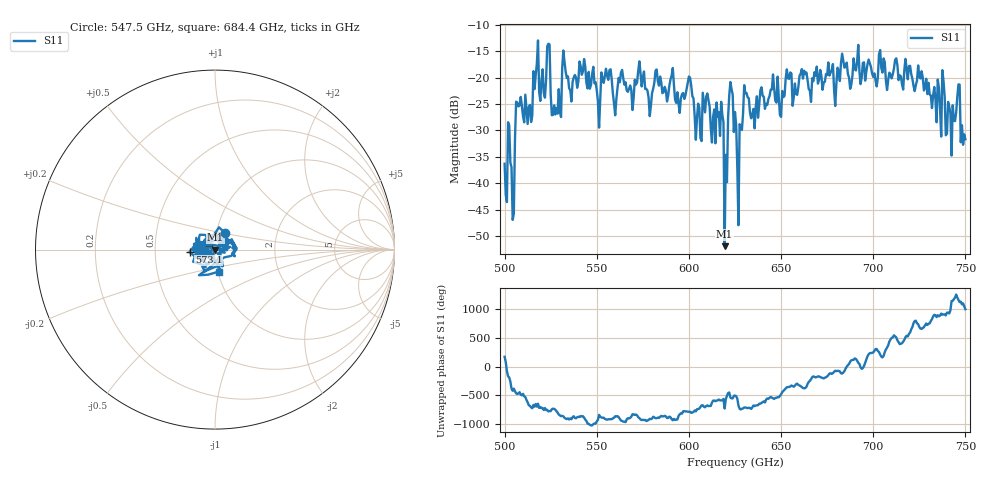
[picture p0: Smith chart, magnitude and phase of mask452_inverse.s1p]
!Created with skrf (http://scikit-rf.org).
# GHz S MA R 50.0
!freq magS11 angS11
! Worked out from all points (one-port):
!   401 points, 500 GHz to 750 GHz, reference 50 ohm
!   lowest |S11| = -51.9 dB at 619.4 GHz (marker M1), VSWR 1.01, Z = 50.3 - j0.0379 ohm
!   |S11| at or under -10 dB: start of sweep to end of sweep
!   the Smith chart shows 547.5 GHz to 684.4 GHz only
!   S11 on the Smith chart (normalised r, x): 547.5 GHz: 1.09, +0.21; 573.1 GHz: 0.75, -0.02; 684.4 GHz: 1.01, -0.25
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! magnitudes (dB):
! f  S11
! 500 GHz  -36.3
! 502.5 GHz  -29.0
! 504.4 GHz  -46.9
! 507.5 GHz  -25.4
! 513.8 GHz  -25.2
! 516.9 GHz  -19.5
! 520.6 GHz  -18.4
! 523.8 GHz  -13.6
! 526.9 GHz  -25.2
! 531.2 GHz  -18.1
! 547.5 GHz  -19.3
! 562.5 GHz  -20.9
! 573.1 GHz  -16.9
! 593.8 GHz  -22.8
! 616.2 GHz  -26.5
! 619.4 GHz  -51.9
! 622.5 GHz  -20.8
! 625 GHz  -26.5
! 627.5 GHz  -28.8
! 631.2 GHz  -22.9
! 634.4 GHz  -27.0
! 656.2 GHz  -25.3
! 684.4 GHz  -18.1
! 687.5 GHz  -22.1
! 718.8 GHz  -20.3
! 741.2 GHz  -25.6
! 745.6 GHz  -23.6
! 750 GHz  -31.7
